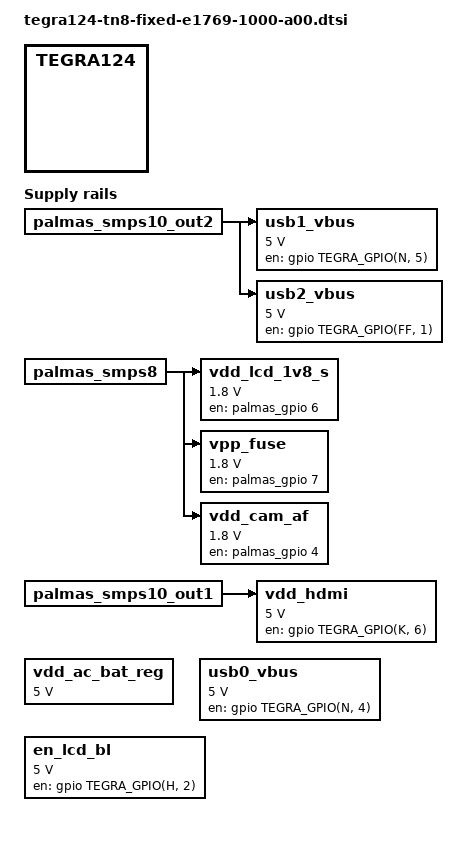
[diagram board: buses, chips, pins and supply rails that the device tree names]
#include <dt-bindings/gpio/tegra-gpio.h>

/ {
	regulators {
		compatible = "simple-bus";
		#address-cells = <1>;
		#size-cells = <0>;

		vdd_ac_bat_reg: regulator@0 {
			compatible = "regulator-fixed";
			reg = <0>;
			regulator-name = "vdd_ac_bat";
			regulator-min-microvolt = <5000000>;
			regulator-max-microvolt = <5000000>;
			regulator-always-on;

			consumers {
				c1 {
					regulator-consumer-supply = "vdd_sys_bl";
				};
			};
		};

		usb0_vbus: regulator@1 {
			compatible = "regulator-fixed-sync";
			reg = <1>;
			regulator-name = "usb0-vbus";
			regulator-min-microvolt = <5000000>;
			regulator-max-microvolt = <5000000>;
			gpio = <&gpio TEGRA_GPIO(N, 4) 0>;
			enable-active-high;
			gpio-open-drain;

			consumers {
				c1 {
					regulator-consumer-supply = "usb_vbus0";
					regulator-consumer-device = "tegra-xhci";
				};
			};
		};

		usb1_vbus: regulator@2 {
			compatible = "regulator-fixed-sync";
			reg = <2>;
			regulator-name = "usb1-vbus";
			regulator-min-microvolt = <5000000>;
			regulator-max-microvolt = <5000000>;
			enable-active-high;
			gpio = <&gpio TEGRA_GPIO(N, 5) 0>;
			gpio-open-drain;
			vin-supply = <&palmas_smps10_out2>;

			consumers {
				c1 {
					regulator-consumer-supply = "usb_vbus";
					regulator-consumer-device = "tegra-ehci.1";
				};
				c2 {
					regulator-consumer-supply = "usb_vbus1";
					regulator-consumer-device = "tegra-xhci";
				};
			};
		};

		usb2_vbus: regulator@3 {
			compatible = "regulator-fixed-sync";
			reg = <3>;
			regulator-name = "usb2-vbus";
			regulator-min-microvolt = <5000000>;
			regulator-max-microvolt = <5000000>;
			enable-active-high;
			gpio = <&gpio TEGRA_GPIO(FF, 1) 0>;
			gpio-open-drain;
			vin-supply = <&palmas_smps10_out2>;

			consumers {
				c1 {
					regulator-consumer-supply = "usb_vbus";
					regulator-consumer-device = "tegra-ehci.2";
				};
				c2 {
					regulator-consumer-supply = "usb_vbus2";
					regulator-consumer-device = "tegra-xhci";
				};
			};
		};

		vdd_lcd_1v8_s: regulator@4 {
			compatible = "regulator-fixed-sync";
			reg = <4>;
			regulator-name = "vdd-lcd-1v8";
			regulator-min-microvolt = <1800000>;
			regulator-max-microvolt = <1800000>;
			regulator-boot-on;
			enable-active-high;
			gpio = <&palmas_gpio 6 0>;
			vin-supply = <&palmas_smps8>;

			consumers {
				c1 {
					regulator-consumer-supply = "vdd_lcd_1v8_s";
				};
				c2 {
					regulator-consumer-supply = "dvdd_lcd";
				};
			};
		};

		vpp_fuse: regulator@5 {
			compatible = "regulator-fixed-sync";
			reg = <5>;
			regulator-name = "vpp-fuse";
			regulator-min-microvolt = <1800000>;
			regulator-max-microvolt = <1800000>;
			enable-active-high;
			gpio = <&palmas_gpio 7 0>;
			vin-supply = <&palmas_smps8>;

			consumers {
				c1 {
					regulator-consumer-supply = "vpp_fuse";
				};
			};
		};

		en_lcd_bl: regulator@6 {
			compatible = "regulator-fixed-sync";
			reg = <6>;
			regulator-name = "en-lcd-bl";
			regulator-min-microvolt = <5000000>;
			regulator-max-microvolt = <5000000>;
			enable-active-high;
			gpio = <&gpio TEGRA_GPIO(H, 2) 0>;

			consumers {
				c1 {
					regulator-consumer-supply = "vdd_lcd_bl_en";
				};
			};
		};

		vdd_hdmi: regulator@7 {
			compatible = "regulator-fixed-sync";
			reg = <7>;
			regulator-name = "vdd-hdmi";
			regulator-min-microvolt = <5000000>;
			regulator-max-microvolt = <5000000>;
			enable-active-high;
			gpio = <&gpio TEGRA_GPIO(K, 6) 0>;
			vin-supply = <&palmas_smps10_out1>;

			consumers {
				c1 {
					regulator-consumer-supply = "vdd_hdmi_5v0";
					regulator-consumer-device = "tegradc.1";
				};
			};
		};

		vdd_cam_af: regulator@8 {
			compatible = "regulator-fixed-sync";
			reg = <8>;
			regulator-name = "vdd-cam-af";
			regulator-min-microvolt = <1800000>;
			regulator-max-microvolt = <1800000>;
			enable-active-high;
			gpio = <&palmas_gpio 4 0>; /* PMIC GPIO4  */
			vin-supply = <&palmas_smps8>;

			consumers {
				c1 {
					regulator-consumer-supply = "vdd_cam1_1v8_cam";
				};
				c2 {
					regulator-consumer-supply = "vdd_cam2_1v8_cam";
				};
				c3 {
					regulator-consumer-supply = "vif";
					regulator-consumer-device = "2-0010";
				};
				c4 {
					regulator-consumer-supply = "dovdd";
					regulator-consumer-device = "2-0010";
				};
				c5 {
					regulator-consumer-supply = "vif2";
					regulator-consumer-device = "2-0021";
				};
				c6 {
					regulator-consumer-supply = "vif";
					regulator-consumer-device = "2-0036";
				};
				c7 {
					regulator-consumer-supply = "vdd_i2c";
					regulator-consumer-device = "2-000c";
				};
				c8 {
					regulator-consumer-supply = "vi2c";
					regulator-consumer-device = "2-0030";
				};
				c9 {
					regulator-consumer-supply = "vdd";
					regulator-consumer-device = "2-004a";
				};
				c10 {
					regulator-consumer-supply = "vif";
					regulator-consumer-device = "2-0048";
				};
			};
		};
	};
};
